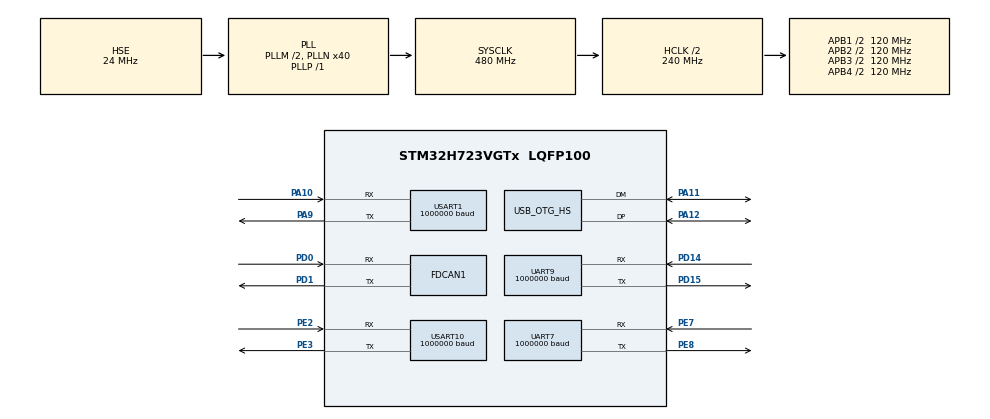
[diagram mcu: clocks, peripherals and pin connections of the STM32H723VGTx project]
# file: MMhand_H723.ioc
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CORTEX_M7.default_mode_Activation=1
Dma.Request0=UART7_RX
Dma.Request1=UART7_TX
Dma.Request2=UART9_TX
Dma.Request3=UART9_RX
Dma.Request4=USART1_TX
Dma.Request5=USART1_RX
Dma.Request6=USART10_TX
Dma.Request7=USART10_RX
Dma.UART7_RX.0.Direction=DMA_PERIPH_TO_MEMORY
Dma.UART7_RX.0.EventEnable=DISABLE
Dma.UART7_RX.0.FIFOMode=DMA_FIFOMODE_DISABLE
Dma.UART7_RX.0.Instance=DMA1_Stream0
Dma.UART7_RX.0.MemDataAlignment=DMA_MDATAALIGN_BYTE
Dma.UART7_RX.0.MemInc=DMA_MINC_ENABLE
Dma.UART7_RX.0.Mode=DMA_CIRCULAR
Dma.UART7_RX.0.PeriphDataAlignment=DMA_PDATAALIGN_BYTE
Dma.UART7_RX.0.PeriphInc=DMA_PINC_DISABLE
Dma.UART7_RX.0.Polarity=HAL_DMAMUX_REQ_GEN_RISING
Dma.UART7_RX.0.Priority=DMA_PRIORITY_HIGH
Dma.UART7_RX.0.RequestNumber=1
Dma.UART7_RX.0.SignalID=NONE
Dma.UART7_RX.0.SyncEnable=DISABLE
Dma.UART7_RX.0.SyncPolarity=HAL_DMAMUX_SYNC_NO_EVENT
Dma.UART7_RX.0.SyncRequestNumber=1
Dma.UART7_RX.0.SyncSignalID=NONE
Dma.UART7_TX.1.Direction=DMA_MEMORY_TO_PERIPH
Dma.UART7_TX.1.EventEnable=DISABLE
Dma.UART7_TX.1.FIFOMode=DMA_FIFOMODE_DISABLE
Dma.UART7_TX.1.Instance=DMA1_Stream1
Dma.UART7_TX.1.MemDataAlignment=DMA_MDATAALIGN_BYTE
Dma.UART7_TX.1.MemInc=DMA_MINC_ENABLE
Dma.UART7_TX.1.Mode=DMA_NORMAL
Dma.UART7_TX.1.PeriphDataAlignment=DMA_PDATAALIGN_BYTE
Dma.UART7_TX.1.PeriphInc=DMA_PINC_DISABLE
Dma.UART7_TX.1.Polarity=HAL_DMAMUX_REQ_GEN_RISING
Dma.UART7_TX.1.Priority=DMA_PRIORITY_HIGH
Dma.UART7_TX.1.RequestNumber=1
Dma.UART7_TX.1.SignalID=NONE
Dma.UART7_TX.1.SyncEnable=DISABLE
Dma.UART7_TX.1.SyncPolarity=HAL_DMAMUX_SYNC_NO_EVENT
Dma.UART7_TX.1.SyncRequestNumber=1
Dma.UART7_TX.1.SyncSignalID=NONE
Dma.UART9_RX.3.Direction=DMA_PERIPH_TO_MEMORY
Dma.UART9_RX.3.EventEnable=DISABLE
Dma.UART9_RX.3.FIFOMode=DMA_FIFOMODE_DISABLE
Dma.UART9_RX.3.Instance=DMA1_Stream3
Dma.UART9_RX.3.MemDataAlignment=DMA_MDATAALIGN_BYTE
Dma.UART9_RX.3.MemInc=DMA_MINC_ENABLE
Dma.UART9_RX.3.Mode=DMA_CIRCULAR
Dma.UART9_RX.3.PeriphDataAlignment=DMA_PDATAALIGN_BYTE
Dma.UART9_RX.3.PeriphInc=DMA_PINC_DISABLE
Dma.UART9_RX.3.Polarity=HAL_DMAMUX_REQ_GEN_RISING
Dma.UART9_RX.3.Priority=DMA_PRIORITY_HIGH
Dma.UART9_RX.3.RequestNumber=1
Dma.UART9_RX.3.SignalID=NONE
Dma.UART9_RX.3.SyncEnable=DISABLE
Dma.UART9_RX.3.SyncPolarity=HAL_DMAMUX_SYNC_NO_EVENT
Dma.UART9_RX.3.SyncRequestNumber=1
Dma.UART9_RX.3.SyncSignalID=NONE
Dma.UART9_TX.2.Direction=DMA_MEMORY_TO_PERIPH
Dma.UART9_TX.2.EventEnable=DISABLE
Dma.UART9_TX.2.FIFOMode=DMA_FIFOMODE_DISABLE
Dma.UART9_TX.2.Instance=DMA1_Stream2
Dma.UART9_TX.2.MemDataAlignment=DMA_MDATAALIGN_BYTE
Dma.UART9_TX.2.MemInc=DMA_MINC_ENABLE
Dma.UART9_TX.2.Mode=DMA_NORMAL
Dma.UART9_TX.2.PeriphDataAlignment=DMA_PDATAALIGN_BYTE
Dma.UART9_TX.2.PeriphInc=DMA_PINC_DISABLE
Dma.UART9_TX.2.Polarity=HAL_DMAMUX_REQ_GEN_RISING
Dma.UART9_TX.2.Priority=DMA_PRIORITY_HIGH
Dma.UART9_TX.2.RequestNumber=1
Dma.UART9_TX.2.SignalID=NONE
Dma.UART9_TX.2.SyncEnable=DISABLE
Dma.UART9_TX.2.SyncPolarity=HAL_DMAMUX_SYNC_NO_EVENT
Dma.UART9_TX.2.SyncRequestNumber=1
Dma.UART9_TX.2.SyncSignalID=NONE
Dma.USART10_RX.7.Direction=DMA_PERIPH_TO_MEMORY
Dma.USART10_RX.7.EventEnable=DISABLE
Dma.USART10_RX.7.FIFOMode=DMA_FIFOMODE_DISABLE
Dma.USART10_RX.7.Instance=DMA1_Stream7
Dma.USART10_RX.7.MemDataAlignment=DMA_MDATAALIGN_BYTE
Dma.USART10_RX.7.MemInc=DMA_MINC_ENABLE
Dma.USART10_RX.7.Mode=DMA_CIRCULAR
Dma.USART10_RX.7.PeriphDataAlignment=DMA_PDATAALIGN_BYTE
Dma.USART10_RX.7.PeriphInc=DMA_PINC_DISABLE
Dma.USART10_RX.7.Polarity=HAL_DMAMUX_REQ_GEN_RISING
Dma.USART10_RX.7.Priority=DMA_PRIORITY_HIGH
Dma.USART10_RX.7.RequestNumber=1
Dma.USART10_RX.7.SignalID=NONE
Dma.USART10_RX.7.SyncEnable=DISABLE
Dma.USART10_RX.7.SyncPolarity=HAL_DMAMUX_SYNC_NO_EVENT
Dma.USART10_RX.7.SyncRequestNumber=1
Dma.USART10_RX.7.SyncSignalID=NONE
Dma.USART10_TX.6.Direction=DMA_MEMORY_TO_PERIPH
Dma.USART10_TX.6.EventEnable=DISABLE
Dma.USART10_TX.6.FIFOMode=DMA_FIFOMODE_DISABLE
Dma.USART10_TX.6.Instance=DMA1_Stream6
Dma.USART10_TX.6.MemDataAlignment=DMA_MDATAALIGN_BYTE
Dma.USART10_TX.6.MemInc=DMA_MINC_ENABLE
Dma.USART10_TX.6.Mode=DMA_NORMAL
Dma.USART10_TX.6.PeriphDataAlignment=DMA_PDATAALIGN_BYTE
Dma.USART10_TX.6.PeriphInc=DMA_PINC_DISABLE
Dma.USART10_TX.6.Polarity=HAL_DMAMUX_REQ_GEN_RISING
Dma.USART10_TX.6.Priority=DMA_PRIORITY_HIGH
Dma.USART10_TX.6.RequestNumber=1
Dma.USART10_TX.6.SignalID=NONE
Dma.USART10_TX.6.SyncEnable=DISABLE
Dma.USART10_TX.6.SyncPolarity=HAL_DMAMUX_SYNC_NO_EVENT
Dma.USART10_TX.6.SyncRequestNumber=1
Dma.USART10_TX.6.SyncSignalID=NONE
Dma.USART1_RX.5.Direction=DMA_PERIPH_TO_MEMORY
Dma.USART1_RX.5.EventEnable=DISABLE
Dma.USART1_RX.5.FIFOMode=DMA_FIFOMODE_DISABLE
Dma.USART1_RX.5.Instance=DMA1_Stream5
Dma.USART1_RX.5.MemDataAlignment=DMA_MDATAALIGN_BYTE
Dma.USART1_RX.5.MemInc=DMA_MINC_ENABLE
Dma.USART1_RX.5.Mode=DMA_CIRCULAR
Dma.USART1_RX.5.PeriphDataAlignment=DMA_PDATAALIGN_BYTE
Dma.USART1_RX.5.PeriphInc=DMA_PINC_DISABLE
Dma.USART1_RX.5.Polarity=HAL_DMAMUX_REQ_GEN_RISING
Dma.USART1_RX.5.Priority=DMA_PRIORITY_HIGH
Dma.USART1_RX.5.RequestNumber=1
Dma.USART1_RX.5.SignalID=NONE
Dma.USART1_RX.5.SyncEnable=DISABLE
Dma.USART1_RX.5.SyncPolarity=HAL_DMAMUX_SYNC_NO_EVENT
Dma.USART1_RX.5.SyncRequestNumber=1
Dma.USART1_RX.5.SyncSignalID=NONE
Dma.USART1_TX.4.Direction=DMA_MEMORY_TO_PERIPH
Dma.USART1_TX.4.EventEnable=DISABLE
Dma.USART1_TX.4.FIFOMode=DMA_FIFOMODE_DISABLE
Dma.USART1_TX.4.Instance=DMA1_Stream4
Dma.USART1_TX.4.MemDataAlignment=DMA_MDATAALIGN_BYTE
Dma.USART1_TX.4.MemInc=DMA_MINC_ENABLE
Dma.USART1_TX.4.Mode=DMA_NORMAL
Dma.USART1_TX.4.PeriphDataAlignment=DMA_PDATAALIGN_BYTE
Dma.USART1_TX.4.PeriphInc=DMA_PINC_DISABLE
Dma.USART1_TX.4.Polarity=HAL_DMAMUX_REQ_GEN_RISING
Dma.USART1_TX.4.Priority=DMA_PRIORITY_HIGH
Dma.USART1_TX.4.RequestNumber=1
Dma.USART1_TX.4.SignalID=NONE
Dma.USART1_TX.4.SyncEnable=DISABLE
Dma.USART1_TX.4.SyncPolarity=HAL_DMAMUX_SYNC_NO_EVENT
Dma.USART1_TX.4.SyncRequestNumber=1
Dma.USART1_TX.4.SyncSignalID=NONE
FDCAN1.AutoRetransmission=ENABLE
FDCAN1.CalculateBaudRateNominal=999999
FDCAN1.CalculateTimeBitNominal=1000
FDCAN1.CalculateTimeQuantumNominal=33.333333333333336
FDCAN1.DataPrescaler=4
FDCAN1.DataSyncJumpWidth=4
FDCAN1.DataTimeSeg1=23
FDCAN1.DataTimeSeg2=6
FDCAN1.FrameFormat=FDCAN_FRAME_FD_NO_BRS
FDCAN1.NominalPrescaler=4
FDCAN1.NominalSyncJumpWidth=4
FDCAN1.NominalTimeSeg1=23
FDCAN1.NominalTimeSeg2=6
FDCAN1.RxFifo0ElmtSize=FDCAN_DATA_BYTES_64
FDCAN1.RxFifo0ElmtsNbr=32
FDCAN1.StdFiltersNbr=1
FDCAN1.TxElmtSize=FDCAN_DATA_BYTES_64
FDCAN1.TxEventsNbr=8
FDCAN1.TxFifoQueueElmtsNbr=8
FREERTOS.Tasks01=defaultTask,24,128,StartDefaultTask,Default,NULL,Dynamic,NULL,NULL
FREERTOS.configTOTAL_HEAP_SIZE=131072
FREERTOS.configUSE_NEWLIB_REENTRANT=1
Mcu.Family=STM32H7
Mcu.Name=STM32H723VGTx
Mcu.Package=LQFP100
NVIC.DMA1_Stream0_IRQn=true\:5\:0\:false\:false\:true\:true\:false\:true\:true
NVIC.DMA1_Stream1_IRQn=true\:5\:0\:false\:false\:true\:true\:false\:true\:true
NVIC.DMA1_Stream2_IRQn=true\:5\:0\:false\:false\:true\:true\:false\:true\:true
NVIC.DMA1_Stream3_IRQn=true\:5\:0\:false\:false\:true\:true\:false\:true\:true
NVIC.DMA1_Stream4_IRQn=true\:5\:0\:false\:false\:true\:true\:false\:true\:true
NVIC.DMA1_Stream5_IRQn=true\:5\:0\:false\:false\:true\:true\:false\:true\:true
NVIC.DMA1_Stream6_IRQn=true\:5\:0\:false\:false\:true\:true\:false\:true\:true
NVIC.DMA1_Stream7_IRQn=true\:5\:0\:false\:false\:true\:true\:false\:true\:true
NVIC.FDCAN1_IT0_IRQn=true\:5\:0\:false\:false\:true\:true\:true\:true\:true
NVIC.OTG_HS_IRQn=true\:5\:0\:false\:false\:true\:true\:false\:true\:true
NVIC.PriorityGroup=NVIC_PRIORITYGROUP_4
NVIC.TIM6_DAC_IRQn=true\:15\:0\:false\:false\:true\:false\:false\:true\:true
NVIC.TimeBase=TIM6_DAC_IRQn
NVIC.TimeBaseIP=TIM6
NVIC.UART7_IRQn=true\:5\:0\:false\:false\:true\:true\:true\:true\:true
NVIC.UART9_IRQn=true\:5\:0\:false\:false\:true\:true\:true\:true\:true
NVIC.USART10_IRQn=true\:5\:0\:false\:false\:true\:true\:true\:true\:true
NVIC.USART1_IRQn=true\:5\:0\:false\:false\:true\:true\:true\:true\:true
PA10.Mode=Asynchronous
PA10.Signal=USART1_RX
PA11.Mode=Device_Only_FS
PA11.Signal=USB_OTG_HS_DM
PA12.Mode=Device_Only_FS
PA12.Signal=USB_OTG_HS_DP
PA13(JTMS/SWDIO).Mode=Serial_Wire
PA13(JTMS/SWDIO).Signal=DEBUG_JTMS-SWDIO
PA14(JTCK/SWCLK).Mode=Serial_Wire
PA14(JTCK/SWCLK).Signal=DEBUG_JTCK-SWCLK
PA9.Mode=Asynchronous
PA9.Signal=USART1_TX
PD0.Mode=FDCAN_Activate
PD0.Signal=FDCAN1_RX
PD1.Mode=FDCAN_Activate
PD1.Signal=FDCAN1_TX
PD14.Mode=Asynchronous
PD14.Signal=UART9_RX
PD15.Mode=Asynchronous
PD15.Signal=UART9_TX
PE2.Mode=Asynchronous
PE2.Signal=USART10_RX
PE3.Mode=Asynchronous
PE3.Signal=USART10_TX
PE7.Mode=Asynchronous
PE7.Signal=UART7_RX
PE8.Mode=Asynchronous
PE8.Signal=UART7_TX
PH0-OSC_IN.Mode=HSE-External-Oscillator
PH0-OSC_IN.Signal=RCC_OSC_IN
PH1-OSC_OUT.Mode=HSE-External-Oscillator
PH1-OSC_OUT.Signal=RCC_OSC_OUT
ProjectManager.HeapSize=0x200
ProjectManager.StackSize=0x400
ProjectManager.TargetToolchain=CMake
RCC.ADCFreq_Value=48375000
RCC.APB1Freq_Value=120000000
RCC.APB2Freq_Value=120000000
RCC.APB3Freq_Value=120000000
RCC.APB4Freq_Value=120000000
RCC.CortexFreq_Value=480000000
RCC.D1PPRE=RCC_APB3_DIV2
RCC.D2PPRE1=RCC_APB1_DIV2
RCC.D2PPRE2=RCC_APB2_DIV2
RCC.D3PPRE=RCC_APB4_DIV2
RCC.DIVM1=2
RCC.DIVM3=4
RCC.DIVN1=40
RCC.DIVN3=32
RCC.DIVP1=1
RCC.DIVQ1=4
RCC.DIVQ3=4
RCC.HCLKFreq_Value=240000000
RCC.HPRE=RCC_HCLK_DIV2
RCC.HSE_VALUE=24000000
RCC.PLLFRACN=0
RCC.PLLSourceVirtual=RCC_PLLSOURCE_HSE
RCC.SYSCLKFreq_VALUE=480000000
RCC.SYSCLKSource=RCC_SYSCLKSOURCE_PLLCLK
RCC.USBCLockSelection=RCC_USBCLKSOURCE_PLL3
RCC.USBFreq_Value=48000000
UART7.BaudRate=1000000
UART9.BaudRate=1000000
USART1.BaudRate=1000000
USART1.VirtualMode-Asynchronous=VM_ASYNC
USART10.BaudRate=1000000
USART10.VirtualMode=VM_ASYNC
USB_DEVICE.CLASS_NAME_HS=CDC
USB_DEVICE.VirtualMode=Cdc
USB_DEVICE.VirtualModeHS=Cdc_HS
USB_OTG_HS.VirtualMode-Device_Only_FS=Device_Only_FS
VP_FREERTOS_VS_CMSIS_V2.Mode=CMSIS_V2
VP_MEMORYMAP_VS_MEMORYMAP.Mode=CurAppReg
VP_SYS_VS_tim6.Mode=TIM6
VP_USB_DEVICE_VS_USB_DEVICE_CDC_HS.Mode=CDC_HS
board=custom

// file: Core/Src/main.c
/* USER CODE BEGIN Header */
/**
  ******************************************************************************
  * @file           : main.c
  * @brief          : Main program body
  ******************************************************************************
  * @attention
  *
  * Copyright (c) 2026 STMicroelectronics.
  * All rights reserved.
  *
  * This software is licensed under terms that can be found in the LICENSE file
  * in the root directory of this software component.
  * If no LICENSE file comes with this software, it is provided AS-IS.
  *
  ******************************************************************************
  */
/* USER CODE END Header */
#include "main.h"
#include "cmsis_os.h"
#include "usb_device.h"

FDCAN_HandleTypeDef hfdcan1;

UART_HandleTypeDef huart7;
UART_HandleTypeDef huart9;
UART_HandleTypeDef huart1;
UART_HandleTypeDef huart10;
DMA_HandleTypeDef hdma_uart7_rx;
DMA_HandleTypeDef hdma_uart7_tx;
DMA_HandleTypeDef hdma_uart9_tx;
DMA_HandleTypeDef hdma_uart9_rx;
DMA_HandleTypeDef hdma_usart1_tx;
DMA_HandleTypeDef hdma_usart1_rx;
DMA_HandleTypeDef hdma_usart10_tx;
DMA_HandleTypeDef hdma_usart10_rx;

void SystemClock_Config(void);
static void MPU_Config(void);
static void MX_GPIO_Init(void);
static void MX_DMA_Init(void);
static void MX_FDCAN1_Init(void);
static void MX_UART7_Init(void);
static void MX_UART9_Init(void);
static void MX_USART1_UART_Init(void);
static void MX_USART10_UART_Init(void);
void MX_FREERTOS_Init(void);

int main(void)
{

  /* MPU Configuration--------------------------------------------------------*/
  MPU_Config();

  /* MCU Configuration--------------------------------------------------------*/

  /* Reset of all peripherals, Initializes the Flash interface and the Systick. */
  HAL_Init();

  /* Configure the system clock */
  SystemClock_Config();

  /* Initialize all configured peripherals */
  MX_GPIO_Init();
  MX_DMA_Init();
  MX_FDCAN1_Init();
  MX_UART7_Init();
  MX_UART9_Init();
  MX_USART1_UART_Init();
  MX_USART10_UART_Init();

  /* Init scheduler */
  osKernelInitialize();

  /* Create the thread(s) */

  /* Init FreeRTOS objects and application threads in freertos.c */
  MX_FREERTOS_Init();

  /* Start scheduler */
  osKernelStart();

  /* We should never get here as control is now taken by the scheduler */

  /* Infinite loop */
  while (1)
  {

  }
}

void SystemClock_Config(void)
{
  RCC_OscInitTypeDef RCC_OscInitStruct = {0};
  RCC_ClkInitTypeDef RCC_ClkInitStruct = {0};

  /** Supply configuration update enable
  */
  HAL_PWREx_ConfigSupply(PWR_LDO_SUPPLY);

  /** Configure the main internal regulator output voltage
  */
  __HAL_PWR_VOLTAGESCALING_CONFIG(PWR_REGULATOR_VOLTAGE_SCALE0);

  while(!__HAL_PWR_GET_FLAG(PWR_FLAG_VOSRDY)) {}

  /** Initializes the RCC Oscillators according to the specified parameters
  * in the RCC_OscInitTypeDef structure.
  */
  RCC_OscInitStruct.OscillatorType = RCC_OSCILLATORTYPE_HSE;
  RCC_OscInitStruct.HSEState = RCC_HSE_ON;
  RCC_OscInitStruct.PLL.PLLState = RCC_PLL_ON;
  RCC_OscInitStruct.PLL.PLLSource = RCC_PLLSOURCE_HSE;
  RCC_OscInitStruct.PLL.PLLM = 2;
  RCC_OscInitStruct.PLL.PLLN = 40;
  RCC_OscInitStruct.PLL.PLLP = 1;
  RCC_OscInitStruct.PLL.PLLQ = 4;
  RCC_OscInitStruct.PLL.PLLR = 2;
  RCC_OscInitStruct.PLL.PLLRGE = RCC_PLL1VCIRANGE_3;
  RCC_OscInitStruct.PLL.PLLVCOSEL = RCC_PLL1VCOWIDE;
  RCC_OscInitStruct.PLL.PLLFRACN = 0;
  if (HAL_RCC_OscConfig(&RCC_OscInitStruct) != HAL_OK)
  {
    Error_Handler();
  }

  /** Initializes the CPU, AHB and APB buses clocks
  */
  RCC_ClkInitStruct.ClockType = RCC_CLOCKTYPE_HCLK|RCC_CLOCKTYPE_SYSCLK
                              |RCC_CLOCKTYPE_PCLK1|RCC_CLOCKTYPE_PCLK2
                              |RCC_CLOCKTYPE_D3PCLK1|RCC_CLOCKTYPE_D1PCLK1;
  RCC_ClkInitStruct.SYSCLKSource = RCC_SYSCLKSOURCE_PLLCLK;
  RCC_ClkInitStruct.SYSCLKDivider = RCC_SYSCLK_DIV1;
  RCC_ClkInitStruct.AHBCLKDivider = RCC_HCLK_DIV2;
  RCC_ClkInitStruct.APB3CLKDivider = RCC_APB3_DIV2;
  RCC_ClkInitStruct.APB1CLKDivider = RCC_APB1_DIV2;
  RCC_ClkInitStruct.APB2CLKDivider = RCC_APB2_DIV2;
  RCC_ClkInitStruct.APB4CLKDivider = RCC_APB4_DIV2;

  if (HAL_RCC_ClockConfig(&RCC_ClkInitStruct, FLASH_LATENCY_3) != HAL_OK)
  {
    Error_Handler();
  }
}

static void MX_FDCAN1_Init(void)
{

  hfdcan1.Instance = FDCAN1;
  hfdcan1.Init.FrameFormat = FDCAN_FRAME_FD_NO_BRS;
  hfdcan1.Init.Mode = FDCAN_MODE_NORMAL;
  hfdcan1.Init.AutoRetransmission = ENABLE;
  hfdcan1.Init.TransmitPause = DISABLE;
  hfdcan1.Init.ProtocolException = DISABLE;
  hfdcan1.Init.NominalPrescaler = 4;
  hfdcan1.Init.NominalSyncJumpWidth = 4;
  hfdcan1.Init.NominalTimeSeg1 = 23;
  hfdcan1.Init.NominalTimeSeg2 = 6;
  hfdcan1.Init.DataPrescaler = 4;
  hfdcan1.Init.DataSyncJumpWidth = 4;
  hfdcan1.Init.DataTimeSeg1 = 23;
  hfdcan1.Init.DataTimeSeg2 = 6;
  hfdcan1.Init.MessageRAMOffset = 0;
  hfdcan1.Init.StdFiltersNbr = 1;
  hfdcan1.Init.ExtFiltersNbr = 0;
  hfdcan1.Init.RxFifo0ElmtsNbr = 32;
  hfdcan1.Init.RxFifo0ElmtSize = FDCAN_DATA_BYTES_64;
  hfdcan1.Init.RxFifo1ElmtsNbr = 0;
  hfdcan1.Init.RxFifo1ElmtSize = FDCAN_DATA_BYTES_8;
  hfdcan1.Init.RxBuffersNbr = 0;
  hfdcan1.Init.RxBufferSize = FDCAN_DATA_BYTES_8;
  hfdcan1.Init.TxEventsNbr = 8;
  hfdcan1.Init.TxBuffersNbr = 0;
  hfdcan1.Init.TxFifoQueueElmtsNbr = 8;
  hfdcan1.Init.TxFifoQueueMode = FDCAN_TX_FIFO_OPERATION;
  hfdcan1.Init.TxElmtSize = FDCAN_DATA_BYTES_64;
  if (HAL_FDCAN_Init(&hfdcan1) != HAL_OK)
  {
    Error_Handler();
  }

}

static void MX_UART7_Init(void)
{

  huart7.Instance = UART7;
  huart7.Init.BaudRate = 1000000;
  huart7.Init.WordLength = UART_WORDLENGTH_8B;
  huart7.Init.StopBits = UART_STOPBITS_1;
  huart7.Init.Parity = UART_PARITY_NONE;
  huart7.Init.Mode = UART_MODE_TX_RX;
  huart7.Init.HwFlowCtl = UART_HWCONTROL_NONE;
  huart7.Init.OverSampling = UART_OVERSAMPLING_16;
  huart7.Init.OneBitSampling = UART_ONE_BIT_SAMPLE_DISABLE;
  huart7.Init.ClockPrescaler = UART_PRESCALER_DIV1;
  huart7.AdvancedInit.AdvFeatureInit = UART_ADVFEATURE_NO_INIT;
  if (HAL_UART_Init(&huart7) != HAL_OK)
  {
    Error_Handler();
  }
  if (HAL_UARTEx_SetTxFifoThreshold(&huart7, UART_TXFIFO_THRESHOLD_1_8) != HAL_OK)
  {
    Error_Handler();
  }
  if (HAL_UARTEx_SetRxFifoThreshold(&huart7, UART_RXFIFO_THRESHOLD_1_8) != HAL_OK)
  {
    Error_Handler();
  }
  if (HAL_UARTEx_DisableFifoMode(&huart7) != HAL_OK)
  {
    Error_Handler();
  }

}

static void MX_UART9_Init(void)
{

  huart9.Instance = UART9;
  huart9.Init.BaudRate = 1000000;
  huart9.Init.WordLength = UART_WORDLENGTH_8B;
  huart9.Init.StopBits = UART_STOPBITS_1;
  huart9.Init.Parity = UART_PARITY_NONE;
  huart9.Init.Mode = UART_MODE_TX_RX;
  huart9.Init.HwFlowCtl = UART_HWCONTROL_NONE;
  huart9.Init.OverSampling = UART_OVERSAMPLING_16;
  huart9.Init.OneBitSampling = UART_ONE_BIT_SAMPLE_DISABLE;
  huart9.Init.ClockPrescaler = UART_PRESCALER_DIV1;
  huart9.AdvancedInit.AdvFeatureInit = UART_ADVFEATURE_NO_INIT;
  if (HAL_UART_Init(&huart9) != HAL_OK)
  {
    Error_Handler();
  }
  if (HAL_UARTEx_SetTxFifoThreshold(&huart9, UART_TXFIFO_THRESHOLD_1_8) != HAL_OK)
  {
    Error_Handler();
  }
  if (HAL_UARTEx_SetRxFifoThreshold(&huart9, UART_RXFIFO_THRESHOLD_1_8) != HAL_OK)
  {
    Error_Handler();
  }
  if (HAL_UARTEx_DisableFifoMode(&huart9) != HAL_OK)
  {
    Error_Handler();
  }

}

static void MX_USART1_UART_Init(void)
{

  huart1.Instance = USART1;
  huart1.Init.BaudRate = 1000000;
  huart1.Init.WordLength = UART_WORDLENGTH_8B;
  huart1.Init.StopBits = UART_STOPBITS_1;
  huart1.Init.Parity = UART_PARITY_NONE;
  huart1.Init.Mode = UART_MODE_TX_RX;
  huart1.Init.HwFlowCtl = UART_HWCONTROL_NONE;
  huart1.Init.OverSampling = UART_OVERSAMPLING_16;
  huart1.Init.OneBitSampling = UART_ONE_BIT_SAMPLE_DISABLE;
  huart1.Init.ClockPrescaler = UART_PRESCALER_DIV1;
  huart1.AdvancedInit.AdvFeatureInit = UART_ADVFEATURE_NO_INIT;
  if (HAL_UART_Init(&huart1) != HAL_OK)
  {
    Error_Handler();
  }
  if (HAL_UARTEx_SetTxFifoThreshold(&huart1, UART_TXFIFO_THRESHOLD_1_8) != HAL_OK)
  {
    Error_Handler();
  }
  if (HAL_UARTEx_SetRxFifoThreshold(&huart1, UART_RXFIFO_THRESHOLD_1_8) != HAL_OK)
  {
    Error_Handler();
  }
  if (HAL_UARTEx_DisableFifoMode(&huart1) != HAL_OK)
  {
    Error_Handler();
  }

}

static void MX_USART10_UART_Init(void)
{

  huart10.Instance = USART10;
  huart10.Init.BaudRate = 1000000;
  huart10.Init.WordLength = UART_WORDLENGTH_8B;
  huart10.Init.StopBits = UART_STOPBITS_1;
  huart10.Init.Parity = UART_PARITY_NONE;
  huart10.Init.Mode = UART_MODE_TX_RX;
  huart10.Init.HwFlowCtl = UART_HWCONTROL_NONE;
  huart10.Init.OverSampling = UART_OVERSAMPLING_16;
  huart10.Init.OneBitSampling = UART_ONE_BIT_SAMPLE_DISABLE;
  huart10.Init.ClockPrescaler = UART_PRESCALER_DIV1;
  huart10.AdvancedInit.AdvFeatureInit = UART_ADVFEATURE_NO_INIT;
  if (HAL_UART_Init(&huart10) != HAL_OK)
  {
    Error_Handler();
  }
  if (HAL_UARTEx_SetTxFifoThreshold(&huart10, UART_TXFIFO_THRESHOLD_1_8) != HAL_OK)
  {
    Error_Handler();
  }
  if (HAL_UARTEx_SetRxFifoThreshold(&huart10, UART_RXFIFO_THRESHOLD_1_8) != HAL_OK)
  {
    Error_Handler();
  }
  if (HAL_UARTEx_DisableFifoMode(&huart10) != HAL_OK)
  {
    Error_Handler();
  }

}

static void MX_DMA_Init(void)
{

  /* DMA controller clock enable */
  __HAL_RCC_DMA1_CLK_ENABLE();

  /* DMA interrupt init */
  /* DMA1_Stream0_IRQn interrupt configuration */
  HAL_NVIC_SetPriority(DMA1_Stream0_IRQn, 5, 0);
  HAL_NVIC_EnableIRQ(DMA1_Stream0_IRQn);
  /* DMA1_Stream1_IRQn interrupt configuration */
  HAL_NVIC_SetPriority(DMA1_Stream1_IRQn, 5, 0);
  HAL_NVIC_EnableIRQ(DMA1_Stream1_IRQn);
  /* DMA1_Stream2_IRQn interrupt configuration */
  HAL_NVIC_SetPriority(DMA1_Stream2_IRQn, 5, 0);
  HAL_NVIC_EnableIRQ(DMA1_Stream2_IRQn);
  /* DMA1_Stream3_IRQn interrupt configuration */
  HAL_NVIC_SetPriority(DMA1_Stream3_IRQn, 5, 0);
  HAL_NVIC_EnableIRQ(DMA1_Stream3_IRQn);
  /* DMA1_Stream4_IRQn interrupt configuration */
  HAL_NVIC_SetPriority(DMA1_Stream4_IRQn, 5, 0);
  HAL_NVIC_EnableIRQ(DMA1_Stream4_IRQn);
  /* DMA1_Stream5_IRQn interrupt configuration */
  HAL_NVIC_SetPriority(DMA1_Stream5_IRQn, 5, 0);
  HAL_NVIC_EnableIRQ(DMA1_Stream5_IRQn);
  /* DMA1_Stream6_IRQn interrupt configuration */
  HAL_NVIC_SetPriority(DMA1_Stream6_IRQn, 5, 0);
  HAL_NVIC_EnableIRQ(DMA1_Stream6_IRQn);
  /* DMA1_Stream7_IRQn interrupt configuration */
  HAL_NVIC_SetPriority(DMA1_Stream7_IRQn, 5, 0);
  HAL_NVIC_EnableIRQ(DMA1_Stream7_IRQn);

}

static void MX_GPIO_Init(void)
{

  /* GPIO Ports Clock Enable */
  __HAL_RCC_GPIOE_CLK_ENABLE();
  __HAL_RCC_GPIOH_CLK_ENABLE();
  __HAL_RCC_GPIOD_CLK_ENABLE();
  __HAL_RCC_GPIOA_CLK_ENABLE();

}

 /* MPU Configuration */

void MPU_Config(void)
{
  MPU_Region_InitTypeDef MPU_InitStruct = {0};

  /* Disables the MPU */
  HAL_MPU_Disable();

  /** Initializes and configures the Region and the memory to be protected
  */
  MPU_InitStruct.Enable = MPU_REGION_ENABLE;
  MPU_InitStruct.Number = MPU_REGION_NUMBER0;
  MPU_InitStruct.BaseAddress = 0x0;
  MPU_InitStruct.Size = MPU_REGION_SIZE_4GB;
  MPU_InitStruct.SubRegionDisable = 0x87;
  MPU_InitStruct.TypeExtField = MPU_TEX_LEVEL0;
  MPU_InitStruct.AccessPermission = MPU_REGION_NO_ACCESS;
  MPU_InitStruct.DisableExec = MPU_INSTRUCTION_ACCESS_DISABLE;
  MPU_InitStruct.IsShareable = MPU_ACCESS_SHAREABLE;
  MPU_InitStruct.IsCacheable = MPU_ACCESS_NOT_CACHEABLE;
  MPU_InitStruct.IsBufferable = MPU_ACCESS_NOT_BUFFERABLE;

  HAL_MPU_ConfigRegion(&MPU_InitStruct);
  /* Enables the MPU */
  HAL_MPU_Enable(MPU_PRIVILEGED_DEFAULT);

}

void HAL_TIM_PeriodElapsedCallback(TIM_HandleTypeDef *htim)
{
  if (htim->Instance == TIM6)
  {
    HAL_IncTick();
  }
}

void Error_Handler(void)
{
  __disable_irq();
  while (1)
  {
  }
}

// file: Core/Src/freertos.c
/* USER CODE BEGIN Header */
/**
  ******************************************************************************
  * File Name          : freertos.c
  * Description        : Code for freertos applications
  ******************************************************************************
  * @attention
  *
  * Copyright (c) 2026 STMicroelectronics.
  * All rights reserved.
  *
  * This software is licensed under terms that can be found in the LICENSE file
  * in the root directory of this software component.
  * If no LICENSE file comes with this software, it is provided AS-IS.
  *
  ******************************************************************************
  */
/* USER CODE END Header */

#include "FreeRTOS.h"
#include "task.h"
#include "main.h"

/* USER CODE BEGIN Includes */
#include "cmsis_os.h"
#include "CanCommTask.h"
#include "ServoCommTask.h"
#include "UpperCommTask.h"
#include "UsbCommTask.h"
#include "queue.h"
#include "semphr.h"
#include "usb_device.h"

#include <string.h>

/* USER CODE END Includes */

/* USER CODE BEGIN Variables */
TaskSharedData_t sharedData;

osThreadId_t defaultTaskHandle;
const osThreadAttr_t defaultTask_attributes = {
  .name = "defaultTask",
  .stack_size = 128 * 4,
  .priority = (osPriority_t) osPriorityNormal,
};

osThreadId_t canCommTaskHandle;
const osThreadAttr_t canCommTask_attributes = {
  .name = "canCommunicationTask",
  .stack_size = CAN_COMM_TASK_STACK_SIZE,
  .priority = (osPriority_t)(osPriorityNormal + TASK_CAN_COMM_PRIORITY),
};

osThreadId_t usbCommTaskHandle;
const osThreadAttr_t usbCommTask_attributes = {
  .name = "usbCommunicationTask",
  .stack_size = USB_COMM_TASK_STACK_SIZE,
  .priority = (osPriority_t)(osPriorityNormal + TASK_USB_COMM_PRIORITY),
};

osThreadId_t servoCommTaskHandle;
const osThreadAttr_t servoCommTask_attributes = {
  .name = "servoCommunicationTask",
  .stack_size = SERVO_COMM_TASK_STACK_SIZE,
  .priority = (osPriority_t)(osPriorityNormal + TASK_SERVO_COMM_PRIORITY),
};

osThreadId_t upperCommTaskHandle;
const osThreadAttr_t upperCommTask_attributes = {
  .name = "upperCommunicationTask",
  .stack_size = UPPER_COMM_TASK_STACK_SIZE,
  .priority = (osPriority_t)(osPriorityNormal + TASK_UPPER_COMM_PRIORITY),
};

/* USER CODE END Variables */

/* USER CODE BEGIN FunctionPrototypes */
static void App_CreateRtosObjects(void);
void StartDefaultTask(void *argument);
void canCommunicationTask(void *parameter);
void servoCommunicationTask(void *parameter);
void usbCommunicationTask(void *parameter);
void upperCommunicationTask(void *parameter);

/* USER CODE END FunctionPrototypes */

/* USER CODE BEGIN Application */
static void App_CreateRtosObjects(void)
{
  memset(&sharedData, 0, sizeof(sharedData));
  sharedData.system_state = SYSTEM_STATE_READY;
  sharedData.control_mode = CONTROL_MODE_JOINT;
  sharedData.servo_target_owner = SERVO_TARGET_OWNER_NONE;
  sharedData.active_motor_mask = validMotorChannelMask();
  sharedData.active_joint_mask = JOINT_CHANNEL_MASK_ALL;

  sharedData.targetAnglesMutex = xSemaphoreCreateMutex();
  sharedData.commandStateMutex = xSemaphoreCreateMutex();

  sharedData.stateEventQueue = xQueueCreate(5, sizeof(SystemEvent_t));
  sharedData.canRxQueue = xQueueCreate(1, sizeof(RemoteSensorData_t));
  sharedData.canTxQueue = xQueueCreate(5, sizeof(RemoteCommand_t));
  sharedData.mappedAngleQueue = xQueueCreate(1, sizeof(MappedAngleData_t));
  sharedData.jointDebugQueue = xQueueCreate(8, sizeof(JointDebugData_t));
  sharedData.servoTargetQueue = xQueueCreate(1, sizeof(ServoTargetBatch_t));
  sharedData.servoFeedbackQueue = xQueueCreate(1, sizeof(ServoAngleData_t));
  sharedData.servoAngleQueue = xQueueCreate(1, sizeof(ServoAngleData_t));
  sharedData.servoRawQueue = xQueueCreate(1, sizeof(ServoAngleData_t));
  sharedData.servoTelemetryQueue = xQueueCreate(1, sizeof(ServoTelemetryData_t));
  sharedData.servoTelemetrySnapshotQueue = xQueueCreate(1, sizeof(ServoTelemetryData_t));
  sharedData.tactileQueue = xQueueCreate(1, sizeof(RemoteTactileData_t));
  sharedData.usbRxQueue = xQueueCreate(USB_COMM_RX_QUEUE_LENGTH, sizeof(UsbPacket_t));
  sharedData.usbTxQueue = xQueueCreate(USB_COMM_TX_QUEUE_LENGTH, sizeof(UsbPacket_t));

  if ((sharedData.targetAnglesMutex == NULL) ||
      (sharedData.commandStateMutex == NULL) ||
      (sharedData.stateEventQueue == NULL) ||
      (sharedData.canRxQueue == NULL) ||
      (sharedData.canTxQueue == NULL) ||
      (sharedData.mappedAngleQueue == NULL) ||
      (sharedData.jointDebugQueue == NULL) ||
      (sharedData.servoTargetQueue == NULL) ||
      (sharedData.servoFeedbackQueue == NULL) ||
      (sharedData.servoAngleQueue == NULL) ||
      (sharedData.servoRawQueue == NULL) ||
      (sharedData.servoTelemetryQueue == NULL) ||
      (sharedData.servoTelemetrySnapshotQueue == NULL) ||
      (sharedData.tactileQueue == NULL) ||
      (sharedData.usbRxQueue == NULL) ||
      (sharedData.usbTxQueue == NULL))
  {
    Error_Handler();
  }
}

void MX_FREERTOS_Init(void)
{
  App_CreateRtosObjects();

  defaultTaskHandle = osThreadNew(StartDefaultTask, NULL, &defaultTask_attributes);
  if (defaultTaskHandle == NULL)
  {
    Error_Handler();
  }

  canCommTaskHandle = osThreadNew(canCommunicationTask, &sharedData, &canCommTask_attributes);
  if (canCommTaskHandle == NULL)
  {
    Error_Handler();
  }

  usbCommTaskHandle = osThreadNew(usbCommunicationTask, &sharedData, &usbCommTask_attributes);
  if (usbCommTaskHandle == NULL)
  {
    Error_Handler();
  }

  servoCommTaskHandle = osThreadNew(servoCommunicationTask, &sharedData, &servoCommTask_attributes);
  if (servoCommTaskHandle == NULL)
  {
    Error_Handler();
  }

  upperCommTaskHandle = osThreadNew(upperCommunicationTask, &sharedData, &upperCommTask_attributes);
  if (upperCommTaskHandle == NULL)
  {
    Error_Handler();
  }
}

void StartDefaultTask(void *argument)
{
  (void)argument;

  MX_USB_DEVICE_Init();

  for (;;)
  {
    osDelay(1);
  }
}

void canCommunicationTask(void *parameter)
{
  CanCommTask_Run(parameter);
}

void servoCommunicationTask(void *parameter)
{
  ServoCommTask_Run(parameter);
}

void usbCommunicationTask(void *parameter)
{
  UsbCommTask_Run(parameter);
}

void upperCommunicationTask(void *parameter)
{
  UpperCommTask_Run(parameter);
}

/* USER CODE END Application */
